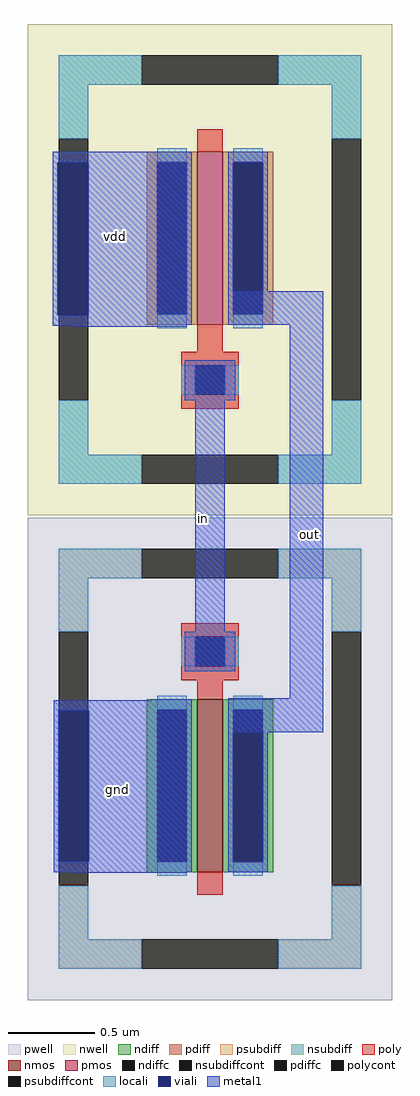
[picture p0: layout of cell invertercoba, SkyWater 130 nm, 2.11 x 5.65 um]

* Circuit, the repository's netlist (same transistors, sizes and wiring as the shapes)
** sch_path: /home/aimans06/inverter/invertercoba.sch
.subckt invertercoba vdd in out gnd
*.PININFO vdd:I in:I gnd:I out:O
XM1 out in gnd sky130_fd_pr__nfet_01v8 L=0.15 W=1 nf=1 m=1
XM2 out in vdd vdd sky130_fd_pr__pfet_01v8 L=0.15 W=1 nf=1 m=1
.ends
.end

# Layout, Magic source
magic
tech sky130A
magscale 1 2
<< viali >>
rect -18 801 17 978
rect -17 169 18 344
<< metal1 >>
rect -24 978 131 990
rect -24 801 -18 978
rect 17 801 131 978
rect -24 789 131 801
rect 185 790 289 829
rect 0 788 131 789
rect 141 395 175 743
rect 250 358 289 790
rect -23 344 131 356
rect -23 169 -17 344
rect 18 169 131 344
rect 179 319 289 358
rect -23 157 131 169
rect 0 156 131 157
use sky130_fd_pr__nfet_01v8_64Z3AY  XM1
transform 1 0 158 0 1 288
box -211 -279 211 279
use sky130_fd_pr__pfet_01v8_LGS3BL  XM2
transform 1 0 158 0 1 854
box -211 -284 211 284
<< labels >>
flabel metal1 46 892 52 892 0 FreeSans 160 0 0 0 vdd
port 1 nsew
flabel metal1 50 253 52 253 0 FreeSans 160 0 0 0 gnd
port 3 nsew
flabel metal1 272 545 274 549 0 FreeSans 160 0 0 0 out
port 5 nsew
flabel metal1 148 564 154 568 0 FreeSans 160 0 0 0 in
port 4 nsew
<< end >>

# cell sky130_fd_pr__nfet_01v8_64Z3AY: kit device sky130_fd_pr__nfet_01v8, w 1.0 l 0.15 m 1 nf 1 diffcov 100 polycov 100 guard 1 glc 1 grc 1 gtc 1 gbc 1 tbcov 100 rlcov 100 topc 1 botc 0 poverlap 0 doverlap 1 lmin 0.15 wmin 0.42 compatible {sky130_fd_pr__nfet_01v8 sky130_fd_pr__nfet_01v8_lvt sky130_fd_bs_flash__special_sonosfet_star sky130_fd_pr__nfet_g5v0d10v5 sky130_fd_pr__nfet_05v0_nvt sky130_fd_pr__nfet_03v3_nvt} full_metal 1 viasrc 100 viadrn 100 viagate 100 viagb 0 viagr 0 viagl 0 viagt 0

# cell sky130_fd_pr__pfet_01v8_LGS3BL: kit device sky130_fd_pr__pfet_01v8, w 1.0 l 0.15 m 1 nf 1 diffcov 100 polycov 100 guard 1 glc 1 grc 1 gtc 1 gbc 1 tbcov 100 rlcov 100 topc 0 botc 1 poverlap 0 doverlap 1 lmin 0.15 wmin 0.42 compatible {sky130_fd_pr__pfet_01v8 sky130_fd_pr__pfet_01v8_lvt sky130_fd_pr__pfet_01v8_hvt sky130_fd_pr__pfet_g5v0d10v5} full_metal 1 viasrc 100 viadrn 100 viagate 100 viagb 0 viagr 0 viagl 0 viagt 0
